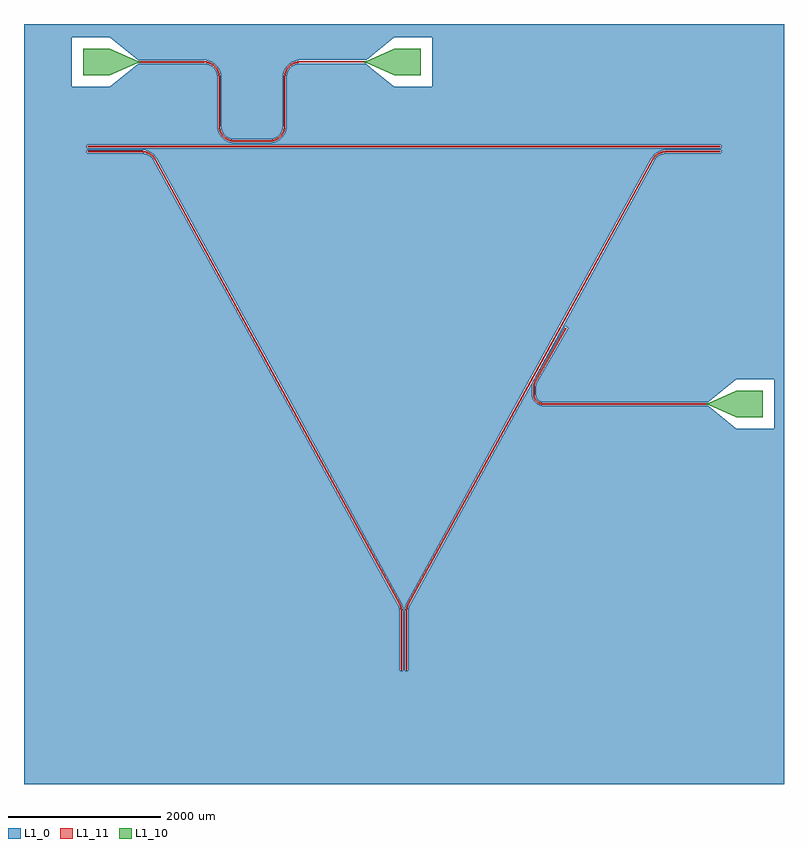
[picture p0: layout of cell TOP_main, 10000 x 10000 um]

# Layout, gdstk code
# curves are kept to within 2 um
import gdstk
lib = gdstk.Library(unit=1e-6, precision=1e-09)
def R(c, l, rs):  # rectangles x0, y0, x1, y1
    for r in rs: c.add(gdstk.rectangle(r[:2], r[2:], *l))
def P(c, l, *ps):  # polygons
    for p in ps: c.add(gdstk.Polygon(p, *l))
L1_0 = (1, 0)
L1_10 = (1, 10)
L1_11 = (1, 11)

ground_main_1 = lib.new_cell('ground_main_1')
P(ground_main_1, L1_0, [(-5000,-1500),(-5000,3562.248),(-1563.073,3562.248),(-70.922,847.632),(-60.894,815.648),(-57.039,782.351),(-57,-12),(-13,-12),(-13.042,782.916),(-18.006,825.501),(-29.405,862.377),(-1512.855,3562.248),(1512.855,3562.248),(31.064,866.338),(18.006,825.501),(13.042,782.916),(13,-12),(57,-12),(57.039,782.351),(61.708,819.288),(72.404,851.055),(1563.073,3562.248),(1701.935,3562.248),(1723.335,3530.22),(1755.019,3502.65),(1793.037,3484.802),(1830.98,3478.162),(4000,3478),(4370,3175),(4870,3175),(4870,3562.248),(5000,3562.248),(5000,-1500)],
  [(1838,3522),(1814.783,3524.525),(1792.652,3531.982),(1772.641,3544.022),(1753.897,3562.248),(4049.147,3562.248),(4000,3522)],
  [(-5000,3562.248),(-5000,6783.384),(-3377.617,6783.384),(-3367.652,6778.71),(-3324.477,6747.927),(-3292.285,6705.792),(-1563.073,3562.248)],
  [(-1512.855,3562.248),(-3253.733,6726.998),(-3272.252,6755.315),(-3297.947,6783.384),(3297.947,6783.384),(3272.252,6755.315),(3253.733,6726.998),(1512.855,3562.248)],
  [(1563.073,3562.248),(3292.285,6705.792),(3309.143,6731.061),(3327.237,6750.541),(3351.195,6769.215),(3377.617,6783.384),(5000,6783.384),(5000,3562.248),(4870,3562.248),(4870,3825),(4370,3825),(4049.147,3562.248),(1753.897,3562.248),(1737.671,3590.025),(1730.356,3621.235),(1730.164,3734.994),(1736.857,3766.914),(2158.053,4499.392),(2119.947,4521.392),(1698.584,3789.602),(1690.741,3766.712),(1686.354,3739.418),(1686.041,3626.489),(1690.037,3595.2),(1701.935,3562.248)],
  [(-5000,6977.481),(-5000,7105.931),(-2445.315,7105.931),(-2431.299,7066.39),(-2412.519,7033.624),(-2388.456,7004.515),(-2356.376,6977.481)],
  [(-2230,6982),(-2256.352,6983.961),(-2285.723,6990.947),(-2310.136,7001.059),(-2335.845,7016.889),(-2355.865,7034.135),(-2375.326,7057.217),(-2388.941,7079.864),(-2399.579,7105.931),(-1600.421,7105.931),(-1620.443,7063.477),(-1652.4,7026.38),(-1693.255,6999.394),(-1736.201,6985.238),(-1770,6982)],
  [(-1643.624,6977.481),(-1614.515,7001.544),(-1587.481,7033.624),(-1568.701,7066.39),(-1554.685,7105.931),(5000,7105.931),(5000,6977.481)],
  [(-5000,7105.931),(-5000,7919.379),(-4370,7919.379),(-4370,7675),(-3870,7675),(-3571.583,7919.379),(-2497.98,7919.379),(-2474.603,7886.81),(-2458.734,7848.498),(-2452.04,7803.778),(-2451.96,7155.799),(-2445.315,7105.931)],
  [(-2399.579,7105.931),(-2407.96,7156.222),(-2408.358,7812.597),(-2418.1,7866.2),(-2442.83,7919.379),(-1557.17,7919.379),(-1581.9,7866.2),(-1591.642,7812.597),(-1592.04,7156.222),(-1600.421,7105.931)],
  [(-1554.685,7105.931),(-1548.04,7155.799),(-1547.639,7811.328),(-1543.17,7841.186),(-1533.718,7869.859),(-1519.557,7896.523),(-1502.02,7919.379),(-428.417,7919.379),(-130,7675),(370,7675),(370,7919.379),(5000,7919.379),(5000,7105.931)],
  [(-5000,7919.379),(-5000,8500),(5000,8500),(5000,7919.379),(370,7919.379),(370,8325),(-130,8325),(-500,8022),(-1390.976,8021.007),(-1440.198,8010.609),(-1485.816,7989.396),(-1525.485,7958.456),(-1557.17,7919.379),(-2442.83,7919.379),(-2474.515,7958.456),(-2514.184,7989.396),(-2559.802,8010.609),(-2609.024,8021.007),(-3500,8022),(-3870,8325),(-4370,8325),(-4370,7919.379)],
  [(-3571.583,7919.379),(-3500,7978),(-2618.672,7977.639),(-2585.148,7972.256),(-2553.255,7960.606),(-2524.155,7943.111),(-2497.98,7919.379)],
  [(-1502.02,7919.379),(-1475.845,7943.111),(-1443.318,7962.199),(-1407.501,7974.005),(-1370,7978),(-500,7978),(-428.417,7919.379)],
  [(-5000,6783.384),(-5000,6977.481),(-2356.376,6977.481),(-2327.402,6960.509),(-2296.2,6948.1),(-2263.483,6940.54),(-2230,6938),(-2230,6912),(-4172,6912),(-4172,6868),(-2230,6868),(-2230,6783.384),(-3297.947,6783.384),(-3331.639,6808.91),(-3365.615,6826.049),(-3406.168,6837.976),(-3448.246,6842),(-4172,6842),(-4172,6798),(-3444.444,6797.959),(-3410.517,6793.956),(-3377.617,6783.384)],
  [(-2230,6783.384),(-2230,6868),(4172,6868),(4172,6912),(-2230,6912),(-2230,6938),(-1744.846,6939.43),(-1691.882,6952.198),(-1643.624,6977.481),(5000,6977.481),(5000,6783.384),(3377.617,6783.384),(3410.517,6793.956),(3444.444,6797.959),(4172,6798),(4172,6842),(3431.328,6841.354),(3397.887,6836.213),(3361.701,6824.436),(3328.058,6806.652),(3297.947,6783.384)])

top_main_1_one_hole = lib.new_cell('TOP_main_1_one_hole')

top_main_1_cheese_diff = lib.new_cell('TOP_main_1_Cheese_diff')

top_main_1_cheese_100 = lib.new_cell('TOP_main_1_Cheese_100')

top_main_1 = lib.new_cell('TOP_main_1')
P(top_main_1, L1_10, [(-4220,7825),(-4220,8175),(-3870,8175),(-3500,8010),(-3500,8010),(-3475,8010),(-3475,7990),(-3500,7990),(-3870,7825)],
  [(-130,7825),(-500,7990),(-500,7990),(-525,7990),(-525,8010),(-500,8010),(-130,8175),(220,8175),(220,7825)],
  [(4370,3325),(4000,3490),(4000,3490),(3975,3490),(3975,3510),(4000,3510),(4370,3675),(4720,3675),(4720,3325)])
R(top_main_1, L1_11, [(-4160,6880,4160,6900)])
P(top_main_1, L1_11, [(-45,0),(-45.038,782.444),(-50.509,824.043),(-63.305,859.99),(-3285.671,6718.334),(-3311.827,6752.249),(-3344.914,6779.445),(-3383.253,6798.538),(-3424.893,6808.559),(-4160,6810),(-4160,6830),(-3423.837,6828.577),(-3376.337,6817.305),(-3332.724,6795.371),(-3295.354,6763.959),(-3268.315,6728.282),(-45.441,868.995),(-29.735,822.967),(-25,778.622),(-25,0)],
  [(25,0),(25.039,782.684),(30.632,826.929),(45.441,868.995),(3268.315,6728.282),(3295.354,6763.959),(3332.724,6795.371),(3376.337,6817.305),(3423.837,6828.577),(4160,6830),(4160,6810),(3424.893,6808.559),(3383.253,6798.538),(3344.914,6779.445),(3311.827,6752.249),(3285.671,6718.334),(63.305,859.99),(50.509,824.043),(45.038,782.444),(45,0)],
  [(-2430.278,7096.877),(-2437.415,7127.149),(-2439.96,7155.877),(-2440.632,7815.487),(-2447.696,7853.529),(-2460.533,7885.913),(-2479.066,7915.408),(-2505.576,7943.592),(-2530.56,7961.9),(-2558.186,7975.906),(-2587.721,7985.236),(-2618.379,7989.644),(-3475,7990),(-3475,8010),(-2617.637,8009.636),(-2580.976,8004.198),(-2549.636,7994.015),(-2516.781,7976.866),(-2490.507,7956.977),(-2473.023,7939.493),(-2455.391,7916.67),(-2441.053,7891.646),(-2430.278,7864.894)],
  [(-2230,6950),(-2262.851,6952.585),(-2294.894,6960.278),(-2325.338,6972.889),(-2353.435,6990.106),(-2378.492,7011.508),(-2399.894,7036.565),(-2417.111,7064.662),(-2430.278,7096.877),(-2430.278,7864.894),(-2422.585,7832.851),(-2420.04,7804.123),(-2419.644,7148.379),(-2416.06,7121.508),(-2408.688,7095.421),(-2397.679,7070.648),(-2383.256,7047.695),(-2357.327,7018.976),(-2326.117,6996.105),(-2290.921,6980.031),(-2253.198,6971.421),(-1770,6970),(-1770,6950)],
  [(-1770,6950),(-1770,6970),(-1735.312,6973.193),(-1701.789,6982.666),(-1670.56,6998.1),(-1642.673,7018.976),(-1623.899,7038.531),(-1606.105,7063.883),(-1594.094,7088.186),(-1584.764,7117.721),(-1580,7160),(-1579.96,7804.123),(-1576.73,7836.917),(-1569.043,7866.917),(-1569.043,7099.04),(-1581.053,7068.354),(-1600.106,7036.565),(-1621.508,7011.508),(-1646.565,6990.106),(-1674.662,6972.889),(-1705.106,6960.278),(-1737.149,6952.585)],
  [(-1569.043,7099.04),(-1569.043,7866.917),(-1558.947,7891.646),(-1544.609,7916.67),(-1526.977,7939.493),(-1509.493,7956.977),(-1483.219,7976.866),(-1450.364,7994.015),(-1419.024,8004.198),(-1382.363,8009.636),(-525,8010),(-525,7990),(-1381.621,7989.644),(-1412.279,7985.236),(-1441.814,7975.906),(-1469.44,7961.9),(-1494.424,7943.592),(-1520.934,7915.408),(-1539.467,7885.913),(-1552.304,7853.529),(-1559.368,7815.487),(-1560.04,7155.877),(-1562.585,7127.149)],
  [(1838,3490),(1798.557,3495.671),(1762.31,3512.225),(1732.195,3538.319),(1712.072,3568.828),(1702.77,3593.765),(1698.159,3623.339),(1698.159,3735.706),(1703.671,3768.488),(1716.756,3799.045),(2124.34,4505),(2141.66,4495),(1724.883,3769.102),(1718.041,3732.186),(1718.04,3626.91),(1721.208,3602.437),(1729.316,3579.13),(1742.019,3557.974),(1761.129,3537.854),(1781.603,3524.079),(1810.437,3513.208),(1838,3510),(3975,3510),(3975,3490)])
top_main_1.add(gdstk.Reference(ground_main_1, (0,0)))
top_main_1.add(gdstk.Reference(top_main_1_one_hole, (0,0)))
top_main_1.add(gdstk.Reference(top_main_1_cheese_diff, (0,0)))
top_main_1.add(gdstk.Reference(top_main_1_cheese_100, (0,0)))

top_main_1_nocheese_99 = lib.new_cell('TOP_main_1_NoCheese_99')

top_main = lib.new_cell('TOP_main')
top_main.add(gdstk.Reference(top_main_1, (0,0)))
top_main.add(gdstk.Reference(top_main_1_nocheese_99, (0,0)))

lib.write_gds('TOP_main.gds')
